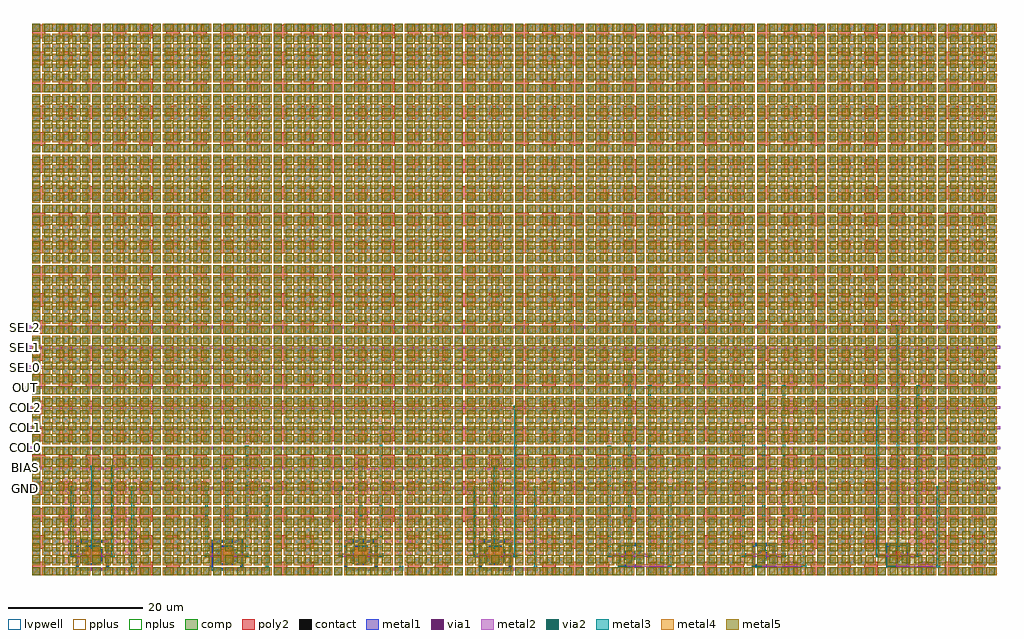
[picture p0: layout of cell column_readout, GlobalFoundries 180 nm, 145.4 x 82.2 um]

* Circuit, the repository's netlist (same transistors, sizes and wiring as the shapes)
.subckt column_readout GND BIAS COL0 COL1 COL2 OUT SEL0 SEL1 SEL2
Xref BIAS BIAS GND GND nfet_03v3 w=2u l=2u
Xb0 COL0 BIAS GND GND nfet_03v3 w=2u l=2u
Xb1 COL1 BIAS GND GND nfet_03v3 w=2u l=2u
Xb2 COL2 BIAS GND GND nfet_03v3 w=2u l=2u
Xm0 OUT SEL0 COL0 GND nfet_03v3 w=1u l=0.5u
Xm1 OUT SEL1 COL1 GND nfet_03v3 w=1u l=0.5u
Xm2 OUT SEL2 COL2 GND nfet_03v3 w=1u l=0.5u
.ends

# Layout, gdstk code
import gdstk
lib = gdstk.Library(unit=1e-6, precision=1e-09)
def R(c, l, rs):  # rectangles x0, y0, x1, y1
    for r in rs: c.add(gdstk.rectangle(r[:2], r[2:], *l))
def A(c, l, x, y, w, h, nx, ny, dx, dy):  # array of equal rectangles
    R(c, l, [(x+i*dx, y+j*dy, x+i*dx+w, y+j*dy+h) for i in range(nx) for j in range(ny)])
comp = (22, 0)
poly2 = (30, 0)
pplus = (31, 0)
nplus = (32, 0)
contact = (33, 0)
metal1 = (34, 0)
via1 = (35, 0)
metal2 = (36, 0)
via2 = (38, 0)
metal3 = (42, 0)
metal4 = (46, 0)
metal5 = (81, 0)
lvpwell = (204, 0)

bias_nfet = lib.new_cell('bias_nfet')
R(bias_nfet, comp, [(-2.4,-2.22,2.4,-1.86), (-2.4,-1.86,-2.04,1.86), (2.04,-1.86,2.4,1.86), (-1.44,-1,1.44,1), (-2.4,1.86,2.4,2.22)])
R(bias_nfet, poly2, [(-1,-1.46,1,1.46)])
R(bias_nfet, pplus, [(-2.42,-2.24,2.42,-1.84), (-2.42,-1.84,-2.01,-1.735), (2.01,-1.84,2.42,-1.735), (-2.43,-1.735,-2.01,1.735), (2.01,-1.735,2.43,1.735), (-2.42,1.735,-2.01,1.84), (2.01,1.735,2.42,1.84), (-2.42,1.84,2.42,2.24)])
R(bias_nfet, nplus, [(-1.23,-1.23,1.23,-1.16), (-1.6,-1.16,1.6,1.16), (-1.23,1.16,1.23,1.23)])
A(bias_nfet, contact, -2.33, -1.52, 0.22, 0.22, 1, 7, 0, 0.47)
A(bias_nfet, contact, 2.11, -1.52, 0.22, 0.22, 1, 7, 0, 0.47)
A(bias_nfet, contact, -0.815, -1.39, 0.22, 0.22, 4, 2, 0.47, 2.56)
A(bias_nfet, contact, -1.37, -0.815, 0.22, 0.22, 1, 4, 0, 0.47)
A(bias_nfet, contact, 1.15, -0.815, 0.22, 0.22, 1, 4, 0, 0.47)
R(bias_nfet, metal1, [(-2.335,-2.155,2.335,-1.925), (-2.335,-1.925,-2.105,1.925), (2.105,-1.925,2.335,1.925), (-0.99,-1.395,0.99,-1.165), (-1.375,-0.99,-1.145,0.99), (1.145,-0.99,1.375,0.99), (-0.99,1.165,0.99,1.395), (-2.335,1.925,2.335,2.155)])
R(bias_nfet, lvpwell, [(-2.52,-2.34,2.52,2.34)])
bias_nfet.add(gdstk.Label('D', (1.26,0), layer=22, texttype=0))
bias_nfet.add(gdstk.Label('S', (-1.26,0), layer=22, texttype=0))
bias_nfet.add(gdstk.Label('G', (0,1.28), layer=30, texttype=10))
bias_nfet.add(gdstk.Label('G', (0,1.44), layer=30, texttype=10))
bias_nfet.add(gdstk.Label('B', (0,-2.04), layer=34, texttype=10))

nfet_probe = lib.new_cell('nfet_probe')
R(nfet_probe, comp, [(-1.65,-1.72,1.65,-1.36), (-1.65,-1.36,-1.29,1.36), (1.29,-1.36,1.65,1.36), (-0.69,-0.5,0.69,0.5), (-1.65,1.36,1.65,1.72)])
R(nfet_probe, poly2, [(-0.25,-0.96,0.25,0.96)])
R(nfet_probe, pplus, [(-1.67,-1.74,1.67,-1.34), (-1.67,-1.34,-1.26,-1.235), (1.26,-1.34,1.67,-1.235), (-1.68,-1.235,-1.26,1.235), (1.26,-1.235,1.68,1.235), (-1.67,1.235,-1.26,1.34), (1.26,1.235,1.67,1.34), (-1.67,1.34,1.67,1.74)])
R(nfet_probe, nplus, [(-0.48,-0.73,0.48,-0.66), (-0.85,-0.66,0.85,0.66), (-0.48,0.66,0.48,0.73)])
A(nfet_probe, contact, -1.58, -1.05, 0.22, 0.22, 1, 5, 0, 0.47)
A(nfet_probe, contact, 1.36, -1.05, 0.22, 0.22, 1, 5, 0, 0.47)
R(nfet_probe, contact, [(-0.11,-0.89,0.11,-0.67), (-0.62,-0.345,-0.4,-0.125), (0.4,-0.345,0.62,-0.125), (-0.62,0.125,-0.4,0.345), (0.4,0.125,0.62,0.345), (-0.11,0.67,0.11,0.89)])
R(nfet_probe, metal1, [(-1.585,-1.655,1.585,-1.425), (-1.585,-1.425,-1.355,1.425), (1.355,-1.425,1.585,1.425), (-0.24,-1.05,0.24,-0.665), (-0.625,-0.49,-0.395,0.49), (0.395,-0.49,0.625,0.49), (-0.24,0.665,0.24,1.05), (-1.585,1.425,1.585,1.655)])
R(nfet_probe, lvpwell, [(-1.77,-1.84,1.77,1.84)])
nfet_probe.add(gdstk.Label('D', (0.51,0), layer=22, texttype=0))
nfet_probe.add(gdstk.Label('S', (-0.51,0), layer=22, texttype=0))
nfet_probe.add(gdstk.Label('G', (0,0.8), layer=30, texttype=10))
nfet_probe.add(gdstk.Label('B', (0,1.54), layer=34, texttype=10))

column_readout = lib.new_cell('column_readout')
A(column_readout, poly2, 77, 7, 2, 2, 3, 2, 4, 4)
A(column_readout, poly2, 93, 7, 2, 2, 4, 2, 4, 4)
A(column_readout, poly2, 113, 7, 2, 2, 4, 2, 4, 4)
A(column_readout, poly2, 133, 7, 2, 2, 3, 2, 4, 4)
A(column_readout, poly2, 1, 15, 2, 2, 36, 19, 4, 4)
R(column_readout, poly2, [(1,7,3,9), (17,7,19,9), (21,7,23,9), (37,7,39,9), (41,7,43,9), (57,7,59,9), (61,7,63,9), (1,11,3,13), (17,11,19,13), (21,11,23,13), (37,11,39,13), (41,11,43,13), (57,11,59,13), (61,11,63,13)])
A(column_readout, metal1, 1, 7, 1.2, 1.2, 4, 4, 1.5, 1.5)
A(column_readout, metal1, 13, 7, 1.2, 1.2, 9, 4, 1.5, 1.5)
A(column_readout, metal1, 34, 7, 1.2, 1.2, 9, 4, 1.5, 1.5)
A(column_readout, metal1, 53.5, 7, 1.2, 1.2, 9, 4, 1.5, 1.5)
A(column_readout, metal1, 73, 7, 1.2, 1.2, 10, 4, 1.5, 1.5)
A(column_readout, metal1, 92.5, 7, 1.2, 1.2, 10, 4, 1.5, 1.5)
A(column_readout, metal1, 112, 7, 1.2, 1.2, 10, 4, 1.5, 1.5)
A(column_readout, metal1, 133, 7, 1.2, 1.2, 8, 4, 1.5, 1.5)
A(column_readout, metal1, 9.76, 7.72, 0.48, 0.48, 4, 2, 20, 3.32)
A(column_readout, metal1, 89.76, 8.22, 0.48, 0.48, 3, 2, 20, 2.48)
A(column_readout, metal1, 1, 13, 1.2, 1.2, 96, 51, 1.5, 1.5)
R(column_readout, metal1, [(8.5,9.76,8.98,10.24), (11.02,9.76,11.5,10.24), (28.5,9.76,28.98,10.24), (31.02,9.76,31.5,10.24), (48.5,9.76,48.98,10.24), (51.02,9.76,51.5,10.24), (68.5,9.76,68.98,10.24), (71.02,9.76,71.5,10.24), (89.25,9.76,89.73,10.24), (90.27,9.76,90.75,10.24), (109.25,9.76,109.73,10.24), (110.27,9.76,110.75,10.24), (129.25,9.76,129.73,10.24), (130.27,9.76,130.75,10.24)])
A(column_readout, via1, 9.87, 7.83, 0.26, 0.26, 4, 2, 20, 3.32)
A(column_readout, via1, 89.87, 8.33, 0.26, 0.26, 3, 2, 20, 2.48)
R(column_readout, via1, [(8.61,9.87,8.87,10.13), (11.13,9.87,11.39,10.13), (28.61,9.87,28.87,10.13), (31.13,9.87,31.39,10.13), (48.61,9.87,48.87,10.13), (51.13,9.87,51.39,10.13), (68.61,9.87,68.87,10.13), (71.13,9.87,71.39,10.13), (89.36,9.87,89.62,10.13), (90.38,9.87,90.64,10.13), (109.36,9.87,109.62,10.13), (110.38,9.87,110.64,10.13), (129.36,9.87,129.62,10.13), (130.38,9.87,130.64,10.13)])
A(column_readout, metal2, 1, 7, 1.2, 1.2, 5, 2, 1.5, 4.5)
A(column_readout, metal2, 17.5, 7, 1.2, 1.2, 8, 1, 1.5, 0)
A(column_readout, metal2, 37, 7, 1.2, 1.2, 8, 1, 1.5, 0)
A(column_readout, metal2, 58, 7, 1.2, 1.2, 7, 1, 1.5, 0)
A(column_readout, metal2, 77.5, 7, 1.2, 1.2, 8, 1, 1.5, 0)
A(column_readout, metal2, 97, 7, 1.2, 1.2, 8, 1, 1.5, 0)
A(column_readout, metal2, 118, 7, 1.2, 1.2, 7, 1, 1.5, 0)
A(column_readout, metal2, 137.5, 7, 1.2, 1.2, 5, 2, 1.5, 1.5)
A(column_readout, metal2, 15.7, 7.66, 0.6, 0.6, 4, 1, 20, 0)
A(column_readout, metal2, 9.76, 7.72, 0.48, 0.48, 4, 2, 20, 3.32)
A(column_readout, metal2, 9.8, 7.76, 6.4, 0.4, 4, 1, 20, 0)
A(column_readout, metal2, 95.7, 8.16, 0.6, 0.6, 3, 1, 20, 0)
A(column_readout, metal2, 89.76, 8.22, 0.48, 0.48, 3, 2, 20, 2.48)
A(column_readout, metal2, 89.8, 8.26, 6.4, 0.4, 3, 1, 20, 0)
A(column_readout, metal2, 1, 8.5, 1.2, 1.2, 3, 2, 1.5, 1.5)
A(column_readout, metal2, 17.5, 8.5, 1.2, 1.2, 6, 1, 1.5, 0)
A(column_readout, metal2, 37, 8.5, 1.2, 1.2, 6, 1, 1.5, 0)
A(column_readout, metal2, 58, 8.5, 1.2, 1.2, 5, 1, 1.5, 0)
A(column_readout, metal2, 77.5, 8.5, 1.2, 1.2, 6, 1, 1.5, 0)
A(column_readout, metal2, 97, 8.5, 1.2, 1.2, 6, 1, 1.5, 0)
A(column_readout, metal2, 118, 8.5, 1.2, 1.2, 5, 1, 1.5, 0)
A(column_readout, metal2, 14.5, 10, 1.2, 1.2, 8, 1, 1.5, 0)
A(column_readout, metal2, 34, 10, 1.2, 1.2, 8, 1, 1.5, 0)
A(column_readout, metal2, 55, 10, 1.2, 1.2, 7, 1, 1.5, 0)
A(column_readout, metal2, 74.5, 10, 1.2, 1.2, 8, 1, 1.5, 0)
A(column_readout, metal2, 94, 10, 1.2, 1.2, 8, 1, 1.5, 0)
A(column_readout, metal2, 115, 10, 1.2, 1.2, 7, 1, 1.5, 0)
A(column_readout, metal2, 134.5, 10, 1.2, 1.2, 7, 1, 1.5, 0)
A(column_readout, metal2, 89.7, 10.64, 0.6, 0.6, 3, 1, 20, 0)
A(column_readout, metal2, 89.8, 10.74, 0.4, 0.4, 3, 1, 20, 0)
A(column_readout, metal2, 9.7, 10.98, 0.6, 0.6, 4, 1, 20, 0)
A(column_readout, metal2, 9.8, 11.08, 0.4, 0.4, 4, 1, 20, 0)
A(column_readout, metal2, 11.5, 11.5, 1.2, 1.2, 12, 1, 1.5, 0)
A(column_readout, metal2, 31, 11.5, 1.2, 1.2, 12, 1, 1.5, 0)
A(column_readout, metal2, 52, 11.5, 1.2, 1.2, 11, 1, 1.5, 0)
A(column_readout, metal2, 71.5, 11.5, 1.2, 1.2, 12, 1, 1.5, 0)
A(column_readout, metal2, 91, 11.5, 1.2, 1.2, 12, 1, 1.5, 0)
A(column_readout, metal2, 112, 11.5, 1.2, 1.2, 11, 1, 1.5, 0)
A(column_readout, metal2, 131.5, 11.5, 1.2, 1.2, 9, 1, 1.5, 0)
A(column_readout, metal2, 1, 13, 1.2, 1.2, 96, 4, 1.5, 1.5)
A(column_readout, metal2, 75.7, 19.7, 0.6, 0.6, 4, 1, 20, 0)
A(column_readout, metal2, -0.2, 19.8, 145.4, 0.4, 1, 9, 0, 3)
A(column_readout, metal2, 29.7, 22.7, 0.6, 0.6, 3, 1, 20, 0)
A(column_readout, metal2, 92.7, 34.7, 0.6, 0.6, 3, 1, 20, 0)
A(column_readout, metal2, 1, 46, 1.2, 1.2, 96, 29, 1.5, 1.5)
R(column_readout, metal2, [(6.7,9.7,7.3,10.3), (12.7,9.7,13.3,10.3), (26.7,9.7,27.3,10.3), (32.7,9.7,33.3,10.3), (46.7,9.7,47.3,10.3), (52.7,9.7,53.3,10.3), (66.7,9.7,67.3,10.3), (72.7,9.7,73.3,10.3), (86.7,9.7,87.3,10.3), (92.7,9.7,93.3,10.3), (106.7,9.7,107.3,10.3), (112.7,9.7,113.3,10.3), (126.7,9.7,127.3,10.3), (132.7,9.7,133.3,10.3), (8.5,9.76,8.98,10.24), (11.02,9.76,11.5,10.24), (28.5,9.76,28.98,10.24), (31.02,9.76,31.5,10.24), (48.5,9.76,48.98,10.24), (51.02,9.76,51.5,10.24), (68.5,9.76,68.98,10.24), (71.02,9.76,71.5,10.24), (89.25,9.76,89.73,10.24), (90.27,9.76,90.75,10.24), (109.25,9.76,109.73,10.24), (110.27,9.76,110.75,10.24), (129.25,9.76,129.73,10.24), (130.27,9.76,130.75,10.24), (6.8,9.8,8.94,10.2), (11.06,9.8,13.2,10.2), (26.8,9.8,28.94,10.2), (31.06,9.8,33.2,10.2), (46.8,9.8,48.94,10.2), (51.06,9.8,53.2,10.2), (66.8,9.8,68.94,10.2), (71.06,9.8,73.2,10.2), (86.8,9.8,89.69,10.2), (90.31,9.8,93.2,10.2), (106.8,9.8,109.69,10.2), (110.31,9.8,113.2,10.2), (126.8,9.8,129.69,10.2), (130.31,9.8,133.2,10.2), (6.7,19.7,7.3,20.3), (15.7,19.7,16.3,20.3), (26.7,19.7,27.3,20.3), (35.7,19.7,36.3,20.3), (46.7,19.7,47.3,20.3), (55.7,19.7,56.3,20.3), (66.7,19.7,67.3,20.3), (9.7,22.7,10.3,23.3), (12.7,22.7,13.3,23.3), (32.7,25.7,33.3,26.3), (86.7,25.7,87.3,26.3), (52.7,28.7,53.3,29.3), (106.7,28.7,107.3,29.3), (72.7,31.7,73.3,32.3), (126.7,31.7,127.3,32.3), (89.7,37.7,90.3,38.3), (109.7,40.7,110.3,41.3), (129.7,43.7,130.3,44.3)])
A(column_readout, via2, 15.87, 7.83, 0.26, 0.26, 4, 1, 20, 0)
A(column_readout, via2, 95.87, 8.33, 0.26, 0.26, 3, 1, 20, 0)
A(column_readout, via2, 89.87, 10.81, 0.26, 0.26, 3, 1, 20, 0)
A(column_readout, via2, 9.87, 11.15, 0.26, 0.26, 4, 1, 20, 0)
A(column_readout, via2, 75.87, 19.87, 0.26, 0.26, 4, 1, 20, 0)
A(column_readout, via2, 29.87, 22.87, 0.26, 0.26, 3, 1, 20, 0)
A(column_readout, via2, 92.87, 34.87, 0.26, 0.26, 3, 1, 20, 0)
R(column_readout, via2, [(6.87,9.87,7.13,10.13), (12.87,9.87,13.13,10.13), (26.87,9.87,27.13,10.13), (32.87,9.87,33.13,10.13), (46.87,9.87,47.13,10.13), (52.87,9.87,53.13,10.13), (66.87,9.87,67.13,10.13), (72.87,9.87,73.13,10.13), (86.87,9.87,87.13,10.13), (92.87,9.87,93.13,10.13), (106.87,9.87,107.13,10.13), (112.87,9.87,113.13,10.13), (126.87,9.87,127.13,10.13), (132.87,9.87,133.13,10.13), (6.87,19.87,7.13,20.13), (15.87,19.87,16.13,20.13), (26.87,19.87,27.13,20.13), (35.87,19.87,36.13,20.13), (46.87,19.87,47.13,20.13), (55.87,19.87,56.13,20.13), (66.87,19.87,67.13,20.13), (9.87,22.87,10.13,23.13), (12.87,22.87,13.13,23.13), (32.87,25.87,33.13,26.13), (86.87,25.87,87.13,26.13), (52.87,28.87,53.13,29.13), (106.87,28.87,107.13,29.13), (72.87,31.87,73.13,32.13), (126.87,31.87,127.13,32.13), (89.87,37.87,90.13,38.13), (109.87,40.87,110.13,41.13), (129.87,43.87,130.13,44.13)])
A(column_readout, metal3, 1, 7, 1.2, 1.2, 9, 1, 1.5, 0)
A(column_readout, metal3, 17.5, 7, 1.2, 1.2, 12, 1, 1.5, 0)
A(column_readout, metal3, 37, 7, 1.2, 1.2, 12, 1, 1.5, 0)
A(column_readout, metal3, 58, 7, 1.2, 1.2, 11, 1, 1.5, 0)
A(column_readout, metal3, 77.5, 7, 1.2, 1.2, 12, 1, 1.5, 0)
A(column_readout, metal3, 97, 7, 1.2, 1.2, 12, 1, 1.5, 0)
A(column_readout, metal3, 118, 7, 1.2, 1.2, 11, 1, 1.5, 0)
A(column_readout, metal3, 137.5, 7, 1.2, 1.2, 5, 10, 1.5, 1.5)
A(column_readout, metal3, 15.7, 7.66, 0.6, 0.6, 4, 1, 20, 0)
A(column_readout, metal3, 15.8, 7.76, 0.4, 12.44, 4, 1, 20, 0)
A(column_readout, metal3, 95.7, 8.16, 0.6, 0.6, 3, 1, 20, 0)
A(column_readout, metal3, 95.8, 8.26, 0.4, 11.94, 3, 1, 20, 0)
A(column_readout, metal3, 1, 8.5, 1.2, 1.2, 3, 9, 1.5, 1.5)
A(column_readout, metal3, 17.5, 8.5, 1.2, 1.2, 6, 9, 1.5, 1.5)
A(column_readout, metal3, 28, 8.5, 1.2, 1.2, 3, 1, 1.5, 0)
A(column_readout, metal3, 37, 8.5, 1.2, 1.2, 6, 1, 1.5, 0)
A(column_readout, metal3, 58, 8.5, 1.2, 1.2, 5, 9, 1.5, 1.5)
A(column_readout, metal3, 77.5, 8.5, 1.2, 1.2, 6, 9, 1.5, 1.5)
A(column_readout, metal3, 88, 8.5, 1.2, 1.2, 3, 1, 1.5, 0)
A(column_readout, metal3, 97, 8.5, 1.2, 1.2, 6, 1, 1.5, 0)
A(column_readout, metal3, 118, 8.5, 1.2, 1.2, 5, 9, 1.5, 1.5)
A(column_readout, metal3, 6.8, 9.8, 0.4, 10.4, 4, 1, 20, 0)
A(column_readout, metal3, 92.8, 9.8, 0.4, 25.4, 3, 1, 20, 0)
A(column_readout, metal3, 28, 10, 1.2, 1.2, 4, 8, 3, 1.5)
A(column_readout, metal3, 38.5, 10, 1.2, 1.2, 5, 8, 1.5, 1.5)
A(column_readout, metal3, 88, 10, 1.2, 1.2, 4, 8, 3, 1.5)
A(column_readout, metal3, 98.5, 10, 1.2, 1.2, 5, 8, 1.5, 1.5)
A(column_readout, metal3, 89.7, 10.64, 0.6, 0.6, 3, 1, 20, 0)
A(column_readout, metal3, 9.7, 10.98, 0.6, 0.6, 4, 1, 20, 0)
A(column_readout, metal3, 9.8, 11.08, 0.4, 12.12, 4, 1, 20, 0)
A(column_readout, metal3, 75.7, 19.7, 0.6, 0.6, 4, 1, 20, 0)
A(column_readout, metal3, 1, 22, 1.2, 1.2, 5, 2, 1.5, 1.5)
A(column_readout, metal3, 14.5, 22, 1.2, 1.2, 10, 2, 1.5, 1.5)
A(column_readout, metal3, 34, 22, 1.2, 1.2, 10, 2, 1.5, 1.5)
A(column_readout, metal3, 55, 22, 1.2, 1.2, 9, 2, 1.5, 1.5)
A(column_readout, metal3, 74.5, 22, 1.2, 1.2, 8, 4, 1.5, 1.5)
A(column_readout, metal3, 88, 22, 1.2, 1.2, 3, 4, 3, 1.5)
A(column_readout, metal3, 95.5, 22, 1.2, 1.2, 7, 4, 1.5, 1.5)
A(column_readout, metal3, 115, 22, 1.2, 1.2, 7, 8, 1.5, 1.5)
A(column_readout, metal3, 134.5, 22, 1.2, 1.2, 7, 10, 1.5, 1.5)
A(column_readout, metal3, 29.7, 22.7, 0.6, 0.6, 3, 1, 20, 0)
A(column_readout, metal3, 1, 25, 1.2, 1.2, 21, 2, 1.5, 1.5)
A(column_readout, metal3, 34, 25, 1.2, 1.2, 12, 2, 1.5, 1.5)
A(column_readout, metal3, 55, 25, 1.2, 1.2, 11, 4, 1.5, 1.5)
A(column_readout, metal3, 1, 28, 1.2, 1.2, 34, 2, 1.5, 1.5)
A(column_readout, metal3, 74.5, 28, 1.2, 1.2, 10, 4, 1.5, 1.5)
A(column_readout, metal3, 91, 28, 1.2, 1.2, 1, 6, 0, 1.5)
A(column_readout, metal3, 94, 28, 1.2, 1.2, 8, 2, 1.5, 1.5)
A(column_readout, metal3, 1, 31, 1.2, 1.2, 47, 2, 1.5, 1.5)
A(column_readout, metal3, 94, 31, 1.2, 1.2, 10, 4, 1.5, 1.5)
A(column_readout, metal3, 1, 34, 1.2, 1.2, 59, 4, 1.5, 1.5)
A(column_readout, metal3, 115, 34, 1.2, 1.2, 9, 2, 1.5, 1.5)
A(column_readout, metal3, 92.7, 34.7, 0.6, 0.6, 3, 1, 20, 0)
A(column_readout, metal3, 91, 37, 1.2, 1.2, 12, 2, 1.5, 1.5)
A(column_readout, metal3, 112, 37, 1.2, 1.2, 11, 4, 1.5, 1.5)
A(column_readout, metal3, 131.5, 37, 1.2, 1.2, 9, 6, 1.5, 1.5)
A(column_readout, metal3, 1, 40, 1.2, 1.2, 72, 2, 1.5, 1.5)
A(column_readout, metal3, 1, 43, 1.2, 1.2, 85, 2, 1.5, 1.5)
A(column_readout, metal3, 1, 46, 1.2, 1.2, 96, 29, 1.5, 1.5)
R(column_readout, metal3, [(8.5,8.5,9.7,9.7), (10,8.5,11.2,9.7), (34,8.5,35.2,9.7), (49,8.5,50.2,9.7), (50.5,8.5,51.7,9.7), (68.5,8.5,69.7,9.7), (70,8.5,71.2,9.7), (94,8.5,95.2,9.7), (109,8.5,110.2,9.7), (110.5,8.5,111.7,9.7), (128.5,8.5,129.7,9.7), (130,8.5,131.2,9.7), (6.7,9.7,7.3,10.3), (12.7,9.7,13.3,10.3), (26.7,9.7,27.3,10.3), (32.7,9.7,33.3,10.3), (46.7,9.7,47.3,10.3), (52.7,9.7,53.3,10.3), (66.7,9.7,67.3,10.3), (72.7,9.7,73.3,10.3), (86.7,9.7,87.3,10.3), (92.7,9.7,93.3,10.3), (106.7,9.7,107.3,10.3), (112.7,9.7,113.3,10.3), (126.7,9.7,127.3,10.3), (132.7,9.7,133.3,10.3), (12.8,9.8,13.2,23.2), (32.8,9.8,33.2,26.2), (52.8,9.8,53.2,29.2), (72.8,9.8,73.2,32.2), (86.8,9.8,87.2,26.2), (106.8,9.8,107.2,29.2), (126.8,9.8,127.2,32.2), (89.8,10.74,90.2,38.2), (109.8,10.74,110.2,41.2), (129.8,10.74,130.2,44.2), (6.7,19.7,7.3,20.3), (15.7,19.7,16.3,20.3), (26.7,19.7,27.3,20.3), (35.7,19.7,36.3,20.3), (46.7,19.7,47.3,20.3), (55.7,19.7,56.3,20.3), (66.7,19.7,67.3,20.3), (31,22,32.2,23.2), (9.7,22.7,10.3,23.3), (12.7,22.7,13.3,23.3), (31,23.5,32.2,24.7), (32.7,25.7,33.3,26.3), (86.7,25.7,87.3,26.3), (52.7,28.7,53.3,29.3), (106.7,28.7,107.3,29.3), (72.7,31.7,73.3,32.3), (126.7,31.7,127.3,32.3), (89.7,37.7,90.3,38.3), (109.7,40.7,110.3,41.3), (129.7,43.7,130.3,44.3)])
A(column_readout, metal4, 1, 7, 1.2, 1.2, 96, 55, 1.5, 1.5)
A(column_readout, metal5, 1, 7, 1.2, 1.2, 80, 46, 1.8, 1.8)
column_readout.add(gdstk.Reference(bias_nfet, (10,10)))
column_readout.add(gdstk.Reference(bias_nfet, (30,10)))
column_readout.add(gdstk.Reference(bias_nfet, (50,10)))
column_readout.add(gdstk.Reference(bias_nfet, (70,10)))
column_readout.add(gdstk.Reference(nfet_probe, (90,10)))
column_readout.add(gdstk.Reference(nfet_probe, (110,10)))
column_readout.add(gdstk.Reference(nfet_probe, (130,10)))
column_readout.add(gdstk.Label('GND', (0,20), layer=36, texttype=10))
column_readout.add(gdstk.Label('BIAS', (0,23), layer=36, texttype=10))
column_readout.add(gdstk.Label('COL0', (0,26), layer=36, texttype=10))
column_readout.add(gdstk.Label('COL1', (0,29), layer=36, texttype=10))
column_readout.add(gdstk.Label('COL2', (0,32), layer=36, texttype=10))
column_readout.add(gdstk.Label('OUT', (0,35), layer=36, texttype=10))
column_readout.add(gdstk.Label('SEL0', (0,38), layer=36, texttype=10))
column_readout.add(gdstk.Label('SEL1', (0,41), layer=36, texttype=10))
column_readout.add(gdstk.Label('SEL2', (0,44), layer=36, texttype=10))

lib.write_gds('column_readout.gds')
